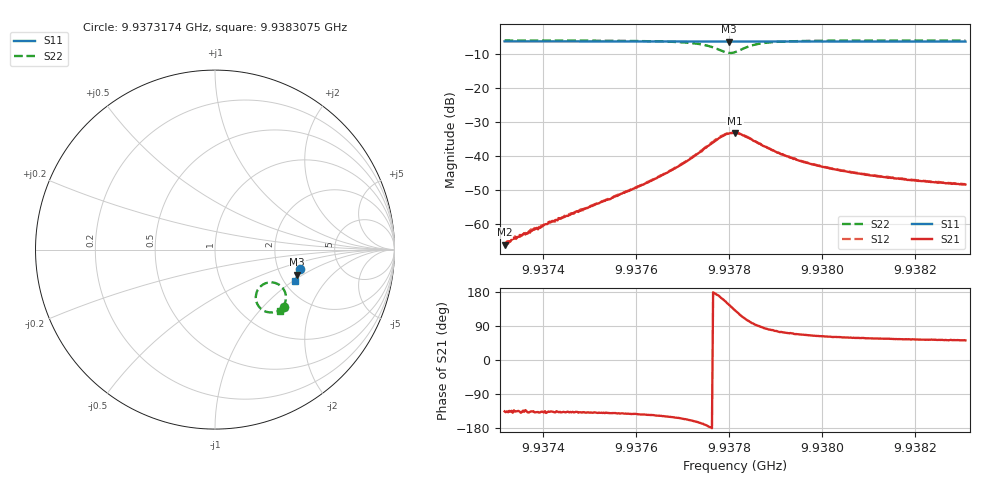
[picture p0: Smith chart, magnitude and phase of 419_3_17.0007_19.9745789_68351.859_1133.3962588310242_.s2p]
#  HZ  S  RI  R  50.00
! Rohde & Schwarz Vector Network Analyzer
! Rohde-Schwarz,ZNB20-2Port,1311601062101988,3.16
! Created: UTC 3/20/2024, 11:10:53 PM
! freq[Hz]  re:S11  im:S11  re:S21  im:S21  re:S12  im:S12  re:S22  im:S22
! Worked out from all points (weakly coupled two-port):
!   401 points, 9.9373174 GHz to 9.9383075 GHz, reference 50 ohm
!   highest |S21| = -33.23 dB at 9.9378124 GHz (marker M1); lowest = -66.0 dB at 9.9373174 GHz (marker M2)
!   lowest |S11| = -6.4 dB at 9.9378001 GHz (marker M3), VSWR 2.84, Z = 123 - j44.7 ohm
!   |S11| at or under -10 dB: nowhere
!   |S22| runs from -9.7 to -6.1 dB; largest |S21 - S12| = 0.00085
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9.93731737e9  0.4709 -0.1095  -0.000357 -0.000349  -0.000345 -0.000323  0.3831 -0.3182
9.9373347e9  0.4705 -0.1108  -0.000453 -0.000391  -0.000441 -0.000407  0.3817 -0.3192
9.93734707e9  0.4703 -0.1116  -0.000458 -0.000468  -0.000475 -0.000413  0.3808 -0.32
9.93736935e9  0.4698 -0.1131  -0.000582 -0.000517  -0.000605 -0.000528  0.379 -0.3216
9.93738915e9  0.4693 -0.1144  -0.000615 -0.000567  -0.000642 -0.000588  0.3774 -0.3233
9.93741638e9  0.4688 -0.1164  -0.000762 -0.00074  -0.000764 -0.000744  0.3748 -0.3253
9.93748322e9  0.4674 -0.1208  -0.0012 -0.00106  -0.00126 -0.00108  0.3677 -0.3307
9.9375451e9  0.4658 -0.1248  -0.0018 -0.00149  -0.00186 -0.00153  0.3595 -0.3365
9.93764907e9  0.4635 -0.1319  -0.00416 -0.00269  -0.00422 -0.00268  0.3345 -0.3474
9.93770352e9  0.4619 -0.1356  -0.00724 -0.00323  -0.00743 -0.00322  0.3065 -0.3504
9.93774808e9  0.4601 -0.1383  -0.013 -0.00208  -0.0131 -0.00174  0.2624 -0.3346
9.93778026e9  0.4586 -0.1399  -0.0182 0.00438  -0.0185 0.00504  0.2279 -0.2772
9.93780006e9  0.4577 -0.1402  -0.0175 0.0123  -0.0176 0.013  0.2432 -0.2171
9.93781244e9  0.4579 -0.1404  -0.0143 0.0164  -0.014 0.017  0.2762 -0.1901
9.93782234e9  0.458 -0.1408  -0.0105 0.0183  -0.0102 0.0188  0.3073 -0.1824
9.93783967e9  0.4583 -0.1418  -0.00453 0.0181  -0.00413 0.0185  0.3525 -0.1931
9.9378669e9  0.4585 -0.1438  0.000539 0.0151  0.000881 0.0149  0.3861 -0.2279
9.93792135e9  0.4575 -0.1478  0.00309 0.00959  0.0034 0.00945  0.3951 -0.2751
9.93797829e9  0.4561 -0.1517  0.00322 0.0068  0.0034 0.00685  0.3896 -0.299
9.9380674e9  0.4538 -0.1578  0.00293 0.00485  0.00308 0.00482  0.38 -0.3182
9.93814414e9  0.4519 -0.1628  0.00268 0.00398  0.00281 0.00398  0.3731 -0.328
9.93830751e9  0.4471 -0.1732  0.00235 0.00298  0.00241 0.003  0.3604 -0.3425
